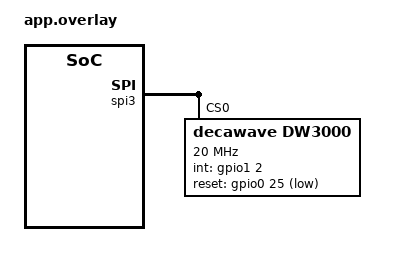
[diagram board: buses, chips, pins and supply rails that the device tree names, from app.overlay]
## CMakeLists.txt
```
cmake_minimum_required(VERSION 3.20.0)
find_package(Zephyr REQUIRED HINTS $ENV{ZEPHYR_BASE})
project(glossy_clock_sync)

target_sources(app PRIVATE src/main.c)
```

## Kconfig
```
mainmenu "Glossy Clock Sync"

source "Kconfig.zephyr"

config GLOSSY_IS_INITIATOR
    bool "Act as glossy initiator"
    default n

config GLOSSY_NODE_ID
    int "Node ID for glossy"
    default 1
```

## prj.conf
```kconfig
CONFIG_PRINTK=y
CONFIG_USE_SEGGER_RTT=y
CONFIG_LOG_BACKEND_RTT=y
CONFIG_DEBUG_INFO=y
CONFIG_RTT_CONSOLE=y
CONFIG_UART_CONSOLE=n
CONFIG_LOG_MODE_IMMEDIATE=n
CONFIG_LOG_MODE_DEFERRED=y
CONFIG_LOG=y
CONFIG_LOG_DEFAULT_LEVEL=3
CONFIG_LOG_BACKEND_RTT_MODE_BLOCK=n

CONFIG_USE_SEGGER_RTT=n
CONFIG_RTT_CONSOLE=n
CONFIG_LOG_BACKEND_RTT=n
CONFIG_UART_CONSOLE=y
CONFIG_LOG_BACKEND_UART=y
CONFIG_LOG_BUFFER_SIZE=16384
# CONFIG_LOG_BLOCK_IN_THREAD=y
# CONFIG_LOG_BLOCK_IN_THREAD_TIMEOUT_MS=1000
CONFIG_LOG_PROCESS_THREAD=y

# Allow application RTC compare channels for precise scheduling
CONFIG_NRF_RTC_TIMER_USER_CHAN_COUNT=1

# Keep scheduler simple while debugging stability issues.
# CONFIG_TIMESLICING=n

CONFIG_IEEE802154_DW3000_LOG_LEVEL_INF=y

# Pull in DW3000 UWB driver sources used by Glossy API.
CONFIG_IEEE802154_DW3000=y
CONFIG_IEEE802154_NRF5=n
CONFIG_UWB_RANGING=n
CONFIG_IEEE802154_DW3000_RX_POLLING_MODE=n
CONFIG_IEEE802154_DW3000_EXCLUSIVE_UWB_MODE=n

# Core networking dependencies required by the DW3000 802.15.4 driver.
CONFIG_NETWORKING=y
CONFIG_NET_IPV6=y
CONFIG_NET_TCP=y
CONFIG_NET_SOCKETS=y
CONFIG_NET_CONNECTION_MANAGER=y
CONFIG_POSIX_API=y

# Network buffers.
CONFIG_NET_PKT_RX_COUNT=16
CONFIG_NET_PKT_TX_COUNT=16
CONFIG_NET_BUF_RX_COUNT=16
CONFIG_NET_BUF_TX_COUNT=16
CONFIG_NET_CONTEXT_NET_PKT_POOL=y

# IP address options.
CONFIG_NET_IF_UNICAST_IPV6_ADDR_COUNT=3
CONFIG_NET_IF_MCAST_IPV6_ADDR_COUNT=4
CONFIG_NET_MAX_CONTEXTS=6
CONFIG_NET_MAX_CONN=10

# Disable shell to keep image small.
CONFIG_NET_SHELL=n
CONFIG_SHELL=n

# Network app config.
CONFIG_NET_CONFIG_SETTINGS=y
CONFIG_NET_CONFIG_NEED_IPV4=n
CONFIG_NET_CONFIG_NEED_IPV6=n
CONFIG_NET_MAX_CONN=10
CONFIG_ZVFS_OPEN_MAX=16
CONFIG_NET_IF_MAX_IPV6_COUNT=2
CONFIG_NET_CONTEXT_RCVTIMEO=y

# IEEE802.15.4 stack config used by local driver.
CONFIG_BT=n
CONFIG_NET_UDP=y
CONFIG_NET_IPV4=n
CONFIG_NET_L2_IEEE802154=y
CONFIG_NET_L2_IEEE802154_SHELL=n
CONFIG_NET_L2_IEEE802154_FRAGMENT_REASS_CACHE_SIZE=8

# The driver doesn't support CSMA (yet)!
CONFIG_NET_L2_IEEE802154_RADIO_CSMA_CA=n
CONFIG_NET_L2_IEEE802154_RADIO_ALOHA=y

CONFIG_NET_CONFIG_IEEE802154_CHANNEL=5

CONFIG_NET_CONFIG_MY_IPV4_ADDR=""
CONFIG_NET_CONFIG_PEER_IPV4_ADDR=""
CONFIG_NET_IPV6_ND=y
CONFIG_NET_IPV6_NBR_CACHE=y

# Additional runtime sizing commonly used in LF-based builds.
CONFIG_SYSTEM_WORKQUEUE_STACK_SIZE=4096
CONFIG_MAIN_STACK_SIZE=8192
CONFIG_HEAP_MEM_POOL_SIZE=8192
CONFIG_THREAD_CUSTOM_DATA=y
CONFIG_CBPRINTF_FP_SUPPORT=y
```

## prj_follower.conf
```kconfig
CONFIG_GLOSSY_IS_INITIATOR=n
CONFIG_GLOSSY_NODE_ID=2

CONFIG_NET_CONFIG_MY_IPV6_ADDR="fe80::2"
CONFIG_NET_CONFIG_PEER_IPV6_ADDR="fe80::1"
```

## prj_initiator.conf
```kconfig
CONFIG_GLOSSY_IS_INITIATOR=y
CONFIG_GLOSSY_NODE_ID=1

CONFIG_NET_CONFIG_MY_IPV6_ADDR="fe80::1"
CONFIG_NET_CONFIG_PEER_IPV6_ADDR="fe80::2"
```

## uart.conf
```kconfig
# For iot-lab, we need to use UART instead of RTT for logging:
CONFIG_USE_SEGGER_RTT=n
CONFIG_RTT_CONSOLE=n
CONFIG_LOG_BACKEND_RTT=n
CONFIG_UART_CONSOLE=y
CONFIG_LOG_BACKEND_UART=y
```

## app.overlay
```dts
/ {
    chosen {
        zephyr,ieee802154 = &dw3000;
    };
};

&ieee802154 {
    status = "disabled";
};

&spi3 {
    status = "okay";

    dw3000: dw3000@0 {
        compatible = "decawave,dw3000";
        reg = <0>;
        spi-max-frequency = <20000000>;
        int-gpios = <&gpio1 2 GPIO_ACTIVE_HIGH>;
        reset-gpios = <&gpio0 25 GPIO_ACTIVE_LOW>;
        status = "okay";
    };
};
```

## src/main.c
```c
#include <errno.h>
#include <inttypes.h>
#include <stdio.h>
#include <zephyr/device.h>
#include <zephyr/devicetree.h>
#include <zephyr/kernel.h>
#include <zephyr/logging/log.h>
#include <zephyr/net/socket.h>
#include <zephyr/posix/poll.h>
#include <zephyr/sys/printk.h>

#include <app/drivers/ieee802154/uwb_driver_api.h>

LOG_MODULE_REGISTER(glossy_sync, LOG_LEVEL_INF);

/* ========================================================================== */
/* Config defaults                                                             */
/* ========================================================================== */

#ifndef CONFIG_GLOSSY_NODE_ID
#define GLOSSY_NODE_ID 1
#else
#define GLOSSY_NODE_ID CONFIG_GLOSSY_NODE_ID
#endif

#ifndef CONFIG_SYNCHROFLY_NETWORK_DEFAULT_GLOSSY_GUARD_US
#define CONFIG_SYNCHROFLY_NETWORK_DEFAULT_GLOSSY_GUARD_US 2000
#endif

#ifndef CONFIG_SYNCHROFLY_NETWORK_DEFAULT_GLOSSY_MAX_DEPTH
#define CONFIG_SYNCHROFLY_NETWORK_DEFAULT_GLOSSY_MAX_DEPTH 6
#endif

#ifndef CONFIG_SYNCHROFLY_NETWORK_DEFAULT_GLOSSY_TRANSMISSION_DELAY_US
#define CONFIG_SYNCHROFLY_NETWORK_DEFAULT_GLOSSY_TRANSMISSION_DELAY_US 750
#endif

#define PORT 4242
#define RECV_BUF_SIZE 128

/* UDP RX thread stack / priority */
#define UDP_RX_STACK_SIZE 2048
#define UDP_RX_PRIORITY 5

/* ========================================================================== */
/* Shared synchronisation state                                                */
/* ========================================================================== */

/*
 * Written by the main thread after every successful Glossy round.
 * Read by the UDP RX thread for every incoming packet.
 * Protected by sync_state_mutex.
 *
 * clock_offset_ms = follower_local_ms - initiator_local_ms
 *   (positive when follower clock is ahead)
 */
struct sync_state {
  struct k_mutex mutex;
  int64_t clock_offset_ms;
  bool offset_known;
};

static struct sync_state g_sync = {
    .clock_offset_ms = 0,
    .offset_known = false,
};

/* ========================================================================== */
/* UDP helpers                                                                 */
/* ========================================================================== */

static int udp_open_socket(const char *bind_addr_str) {
  struct sockaddr_in6 addr = {
      .sin6_family = AF_INET6,
      .sin6_port = htons(PORT),
  };
  inet_pton(AF_INET6, bind_addr_str, &addr.sin6_addr);

  int sock = socket(AF_INET6, SOCK_DGRAM, IPPROTO_UDP);
  if (sock < 0) {
    LOG_ERR("socket() failed: %d", errno);
    return -1;
  }
  if (bind(sock, (struct sockaddr *)&addr, sizeof(addr)) < 0) {
    LOG_ERR("bind() failed: %d", errno);
    close(sock);
    return -1;
  }
  return sock;
}

static void udp_send_timestamp(int sock, const char *peer_addr_str) {
  struct sockaddr_in6 peer = {
      .sin6_family = AF_INET6,
      .sin6_port = htons(PORT),
  };
  inet_pton(AF_INET6, peer_addr_str, &peer.sin6_addr);

  int64_t send_ms = k_uptime_get();
  char buf[RECV_BUF_SIZE];
  int len = snprintf(buf, sizeof(buf), "TS %" PRId64, send_ms);

  ssize_t sent = sendto(sock, buf, len, 0,
                        (struct sockaddr *)&peer, sizeof(peer));
  if (sent < 0) {
    LOG_ERR("UDP TX failed: %d", errno);
  } else {
    LOG_INF("UDP TX: send_ms=%" PRId64, send_ms);
  }
}

/* ========================================================================== */
/* UDP RX thread                                                               */
/* ========================================================================== */

/*
 * Packet format: "TS <sender_uptime_ms>"
 *
 * One-way delay estimate (follower side):
 *
 *   clock_offset_ms = follower_local_ms - initiator_local_ms
 *                     (positive when follower clock is ahead)
 *
 *   delay_ms = arrival_local_ms - (sender_local_ms + clock_offset_ms)
 */

struct udp_rx_thread_args {
  int sock;
};

static struct udp_rx_thread_args g_udp_rx_args;

K_THREAD_STACK_DEFINE(udp_rx_stack, UDP_RX_STACK_SIZE);
static struct k_thread udp_rx_thread_data;

static void udp_rx_thread_fn(void *arg1, void *arg2, void *arg3) {
  ARG_UNUSED(arg2);
  ARG_UNUSED(arg3);

  struct udp_rx_thread_args *args = (struct udp_rx_thread_args *)arg1;
  int sock = args->sock;

  char buf[RECV_BUF_SIZE];
  struct sockaddr_in6 from;
  socklen_t fromlen;

  LOG_INF("[udp_rx] thread started");

  while (1) {
    fromlen = sizeof(from);

    /* Blocking recvfrom — no timeout; runs until a packet arrives */
    ssize_t len = recvfrom(sock, buf, sizeof(buf) - 1, 0,
                           (struct sockaddr *)&from, &fromlen);
    if (len < 0) {
      LOG_ERR("[udp_rx] recvfrom() failed: %d", errno);
      /* Brief back-off to avoid tight error loops */
      k_sleep(K_MSEC(10));
      continue;
    }
    buf[len] = '\0';

    int64_t arrival_ms = k_uptime_get();

    int64_t sender_ms;
    if (sscanf(buf, "TS %" SCNd64, &sender_ms) != 1) {
      LOG_WRN("[udp_rx] malformed packet: %s", buf);
      continue;
    }

    /* Snapshot shared sync state */
    int64_t clock_offset_ms;
    bool offset_known;

    k_mutex_lock(&g_sync.mutex, K_FOREVER);
    clock_offset_ms = g_sync.clock_offset_ms;
    offset_known = g_sync.offset_known;
    k_mutex_unlock(&g_sync.mutex);

    if (!offset_known) {
      LOG_INF("[udp_rx] sender_ms=%" PRId64 " arrival_ms=%" PRId64
              " (offset unknown, cannot compute delay)",
              sender_ms, arrival_ms);
      continue;
    }

    int64_t delay_ms = arrival_ms - (sender_ms + clock_offset_ms);
    LOG_INF("[udp_rx] sender_ms=%" PRId64 " arrival_ms=%" PRId64
            " offset_ms=%" PRId64 " => one_way_delay_ms=%" PRId64,
            sender_ms, arrival_ms, clock_offset_ms, delay_ms);
  }
}

/* ========================================================================== */
/* main()                                                                      */
/* ========================================================================== */

int main(void) {
  for (int i = 0; i < 3; i++) {
    printk("System alive...\n");
    k_sleep(K_MSEC(2000));
  }

  const struct device *dev = DEVICE_DT_GET(DT_CHOSEN(zephyr_ieee802154));
  if (!device_is_ready(dev)) {
    LOG_ERR("UWB device not ready");
    return -ENODEV;
  }

  const bool is_initiator = IS_ENABLED(CONFIG_GLOSSY_IS_INITIATOR);

  LOG_INF("Glossy+UDP started; node_id=%d role=%s",
          GLOSSY_NODE_ID, is_initiator ? "initiator" : "follower");

  /* ---------------------------------------------------------------------- */
  /* Shared state init                                                       */
  /* ---------------------------------------------------------------------- */

  k_mutex_init(&g_sync.mutex);

  /* ---------------------------------------------------------------------- */
  /* UDP socket                                                              */
  /* ---------------------------------------------------------------------- */

  int sock = udp_open_socket(CONFIG_NET_CONFIG_MY_IPV6_ADDR);
  if (sock < 0) {
    LOG_ERR("Failed to open UDP socket, aborting");
    return -EIO;
  }

  /* ---------------------------------------------------------------------- */
  /* Start continuous UDP RX thread (follower only; harmless on initiator)  */
  /* ---------------------------------------------------------------------- */

  g_udp_rx_args.sock = sock;

  k_thread_create(&udp_rx_thread_data,
                  udp_rx_stack,
                  K_THREAD_STACK_SIZEOF(udp_rx_stack),
                  udp_rx_thread_fn,
                  &g_udp_rx_args, NULL, NULL,
                  UDP_RX_PRIORITY,
                  0,
                  K_NO_WAIT);
  k_thread_name_set(&udp_rx_thread_data, "udp_rx");

  /* ---------------------------------------------------------------------- */
  /* Glossy configuration                                                    */
  /* ---------------------------------------------------------------------- */

  struct deca_glossy_configuration conf = {
      .node_addr = GLOSSY_NODE_ID,
      .isRoot = is_initiator,
      .guard_period_us = CONFIG_SYNCHROFLY_NETWORK_DEFAULT_GLOSSY_GUARD_US,
      .max_depth = CONFIG_SYNCHROFLY_NETWORK_DEFAULT_GLOSSY_MAX_DEPTH,
      .transmission_delay_us =
          CONFIG_SYNCHROFLY_NETWORK_DEFAULT_GLOSSY_TRANSMISSION_DELAY_US,
      .payload = NULL,
      .payload_size = 0,
  };

  struct deca_glossy_result result;

  /* ---------------------------------------------------------------------- */
  /* Synchronisation state (main-thread copy, written under mutex)          */
  /* ---------------------------------------------------------------------- */

  int64_t clock_offset_ms = 0;
  bool offset_known = false;
  int failures_in_row = 0;
  bool sync_lost = false;

  /* ---------------------------------------------------------------------- */
  /* Scheduling                                                              */
  /* ---------------------------------------------------------------------- */

  const int64_t GLOSSY_INTERVAL_MS = 2000;
  const int64_t GLOSSY_FAST_INTERVAL_MS = 20;

  /*
   * Initiator sends a UDP timestamp halfway through each Glossy interval
   * so the follower's RX thread receives it well before the next round.
   * INT64_MAX = "not yet armed".
   */
  int64_t next_glossy_ms = k_uptime_get();
  int64_t next_udp_tx_ms = INT64_MAX; /* initiator only */

  /* ---------------------------------------------------------------------- */
  /* Event loop                                                              */
  /* ---------------------------------------------------------------------- */

  while (1) {
    int64_t now_ms = k_uptime_get();
    int64_t to_glossy_ms = next_glossy_ms - now_ms;
    int64_t to_udp_ms = next_udp_tx_ms - now_ms;

    /* Sleep until the nearest due event */
    if (to_glossy_ms > 0 && to_udp_ms > 0) {
      k_sleep(K_MSEC(MIN(to_glossy_ms, to_udp_ms)));
    }

    now_ms = k_uptime_get();
    to_glossy_ms = next_glossy_ms - now_ms;
    to_udp_ms = next_udp_tx_ms - now_ms;

    /* ------------------------------------------------------------------ */
    /* Initiator UDP TX                                                    */
    /* ------------------------------------------------------------------ */

    if (is_initiator && to_udp_ms <= 0) {
      // LOG_INF("[udp_tx] sending timestamp: id=%d offset_ms=%" PRId64,
      //         GLOSSY_NODE_ID, clock_offset_ms);
      udp_send_timestamp(sock, CONFIG_NET_CONFIG_PEER_IPV6_ADDR);
      next_udp_tx_ms = INT64_MAX; /* disarmed; re-armed after next Glossy */
    }

    /* ------------------------------------------------------------------ */
    /* Glossy round                                                        */
    /* ------------------------------------------------------------------ */

    if (to_glossy_ms <= 0) {
      LOG_INF("[glossy] round start: role=%s id=%d",
              is_initiator ? "initiator" : "follower", GLOSSY_NODE_ID);

      /*
       * deca_glossy_time_synchronization() acquires the UWB broker
       * lease internally.  The UDP RX thread will block in recvfrom()
       * during this time and resume automatically once the lease is
       * released on return.
       */
      int ret = deca_glossy_time_synchronization(dev, &conf, &result);

      if (ret == 0) {
        int64_t rtc_offset_ticks = (int64_t)result.rtc_clock_pair.local - (int64_t)result.rtc_clock_pair.ref;
        int64_t deca_offset_ticks = (int64_t)result.deca_clock_pair.local - (int64_t)result.deca_clock_pair.ref;

        int64_t new_offset_ms = (rtc_offset_ticks * 1000LL) / 32768LL;
        int64_t deca_offset_ms =
            (int64_t)DWT_TS_TO_US(
                (uint64_t)(deca_offset_ticks < 0 ? -deca_offset_ticks
                                                 : deca_offset_ticks)) /
            1000LL;
        if (deca_offset_ticks < 0) {
          deca_offset_ms = -deca_offset_ms;
        }

        clock_offset_ms = new_offset_ms;

        /* Publish updated offset to the RX thread */
        k_mutex_lock(&g_sync.mutex, K_FOREVER);
        g_sync.clock_offset_ms = clock_offset_ms;
        g_sync.offset_known = true;
        k_mutex_unlock(&g_sync.mutex);

        LOG_INF("[glossy] sync ok: rtc_offset=%" PRId64
                " ms  dwt_offset=%" PRId64 " ms",
                new_offset_ms, deca_offset_ms);

        if (!offset_known) {
          offset_known = true;
          LOG_INF("[glossy] offset known for the first time");
        }
        if (sync_lost) {
          LOG_INF("[glossy] sync recovered after %d failures",
                  failures_in_row);
          sync_lost = false;
        }
        failures_in_row = 0;
      } else {
        failures_in_row++;
        LOG_WRN("[glossy] round failed (ret=%d, streak=%d)",
                ret, failures_in_row);
        if (failures_in_row >= 3 && !sync_lost) {
          LOG_ERR("[glossy] sync lost — entering recovery mode");
          sync_lost = true;
        }
        // LOG_WRN("[glossy] round done: ret=%d", ret);
      }

      /* Schedule next Glossy round */
      now_ms = k_uptime_get();
      int64_t interval_ms = sync_lost ? GLOSSY_FAST_INTERVAL_MS
                                      : GLOSSY_INTERVAL_MS;

      if (is_initiator) {
        if (sync_lost) {
          next_glossy_ms = now_ms + interval_ms;
        } else {
          /* Snap to the global 2-second grid */
          next_glossy_ms =
              ((now_ms / GLOSSY_INTERVAL_MS) + 1) * GLOSSY_INTERVAL_MS;
        }
      } else if (offset_known && !sync_lost) {
        /* Align to initiator's 2-second grid via known offset */
        int64_t now_initiator = now_ms - clock_offset_ms;
        int64_t next_initiator =
            ((now_initiator / GLOSSY_INTERVAL_MS) + 1) * GLOSSY_INTERVAL_MS;
        next_glossy_ms = next_initiator + clock_offset_ms;
      } else {
        next_glossy_ms = now_ms + interval_ms;
      }

      /*
       * Arm the initiator TX halfway through the next Glossy interval.
       * Both nodes use initiator-aligned time for scheduling so the
       * follower's RX thread sees the packet well before the next round.
       * Skip during recovery (20 ms window is too narrow).
       */
      if (is_initiator && !sync_lost) {
        next_udp_tx_ms = next_glossy_ms - (GLOSSY_INTERVAL_MS / 2);
      } else {
        next_udp_tx_ms = INT64_MAX;
      }
    }
  }

  close(sock);
  return 0;
}
```
